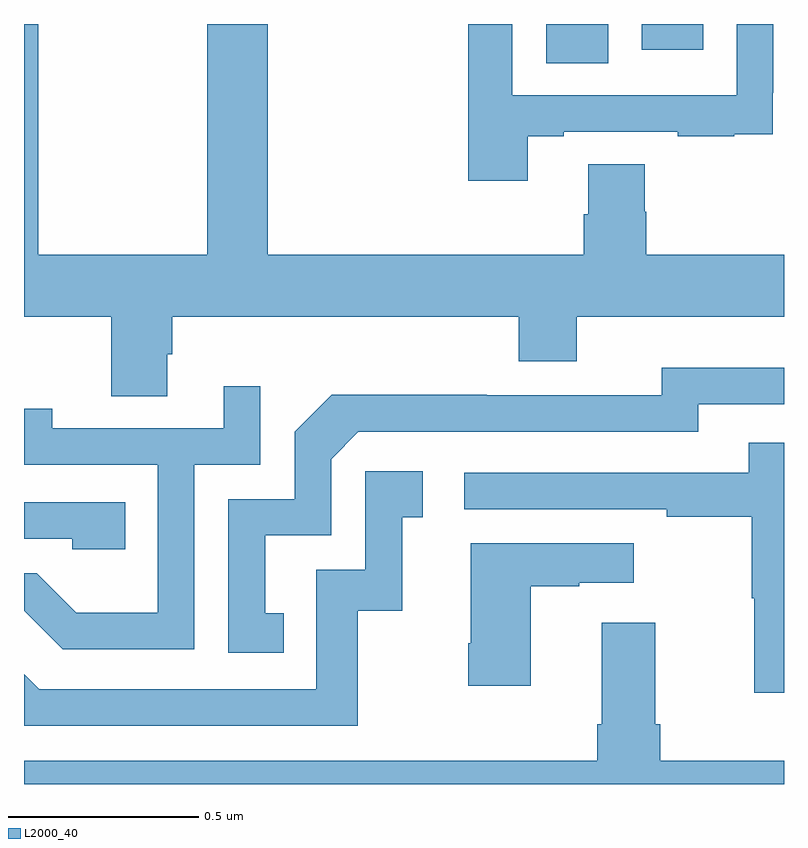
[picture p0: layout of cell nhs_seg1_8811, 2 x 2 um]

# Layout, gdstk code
import gdstk
lib = gdstk.Library(unit=1e-6, precision=1e-09)
def R(c, l, rs):  # rectangles x0, y0, x1, y1
    for r in rs: c.add(gdstk.rectangle(r[:2], r[2:], *l))
def P(c, l, *ps):  # polygons
    for p in ps: c.add(gdstk.Polygon(p, *l))
L2000_40 = (2000, 40)

nhs_seg1_8811 = lib.new_cell('nhs_seg1_8811')
R(nhs_seg1_8811, L2000_40, [(222.374,523.096,222.538,523.199), (222.626,523.131,222.787,523.199)])
P(nhs_seg1_8811, L2000_40, [(222.325,522.903),(222.421,522.903),(222.421,522.915),(222.721,522.915),(222.721,522.903),(222.869,522.903),(222.869,522.909),(222.971,522.909),(222.971,523.018),(222.972,523.018),(222.972,523.199),(222.876,523.199),(222.876,523.011),(222.285,523.011),(222.285,523.199),(222.169,523.199),(222.169,522.786),(222.325,522.786)],
  [(221.642,523.199),(221.482,523.199),(221.482,522.592),(221.037,522.592),(221.037,523.199),(221,523.199),(221,522.428),(221.23,522.428),(221.23,522.22),(221.377,522.22),(221.377,522.33),(221.39,522.33),(221.39,522.428),(222.302,522.428),(222.302,522.311),(222.454,522.311),(222.454,522.428),(223,522.428),(223,522.592),(222.638,522.592),(222.638,522.705),(222.633,522.705),(222.633,522.83),(222.485,522.83),(222.485,522.698),(222.473,522.698),(222.473,522.592),(221.642,522.592)],
  [(221.684,521.649),(221.635,521.649),(221.635,521.853),(221.808,521.853),(221.808,522.054),(221.88,522.126),(222.774,522.126),(222.774,522.198),(223,522.198),(223,522.295),(222.678,522.295),(222.678,522.222),(222.218,522.222),(222.218,522.224),(221.81,522.224),(221.712,522.126),(221.712,521.949),(221.538,521.949),(221.538,521.544),(221.684,521.544)],
  [(221.448,522.039),(221.622,522.039),(221.622,522.246),(221.525,522.246),(221.525,522.135),(221.074,522.135),(221.074,522.187),(221,522.187),(221,522.039),(221.352,522.039),(221.352,521.65),(221.138,521.65),(221.034,521.754),(221,521.754),(221,521.655),(221.102,521.553),(221.448,521.553)],
  [(223,522.097),(222.907,522.097),(222.907,522.018),(222.159,522.018),(222.159,521.922),(222.691,521.922),(222.691,521.902),(222.915,521.902),(222.915,521.688),(222.922,521.688),(222.922,521.439),(223,521.439)],
  [(221.878,521.655),(221.996,521.655),(221.996,521.901),(222.049,521.901),(222.049,522.022),(221.898,522.022),(221.898,521.763),(221.769,521.763),(221.769,521.448),(221.04,521.448),(221,521.488),(221,521.352),(221.878,521.352)],
  [(221.267,521.94),(221,521.94),(221,521.844),(221.127,521.844),(221.127,521.817),(221.267,521.817)],
  [(222.334,521.719),(222.461,521.719),(222.461,521.729),(222.604,521.729),(222.604,521.833),(222.176,521.833),(222.176,521.569),(222.169,521.569),(222.169,521.457),(222.334,521.457)],
  [(223,521.26),(222.674,521.26),(222.674,521.356),(222.661,521.356),(222.661,521.623),(222.521,521.623),(222.521,521.356),(222.509,521.356),(222.509,521.26),(221,521.26),(221,521.199),(223,521.199)])

lib.write_gds('nhs_seg1_8811.gds')
